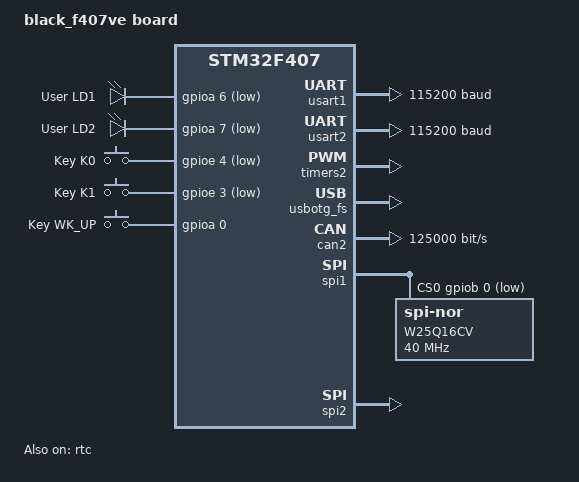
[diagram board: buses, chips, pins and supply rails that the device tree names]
/*
 * Copyright (c) 2020 Intel Corporation
 *
 * SPDX-License-Identifier: Apache-2.0
 */

/dts-v1/;
#include <st/f4/stm32f407Xe.dtsi>

/ {
	model = "black_f407ve board";
	compatible = "st,stm32f407";

	chosen {
		zephyr,console = &usart2;
		zephyr,shell-uart = &usart2;
		zephyr,sram = &sram0;
		zephyr,flash = &flash0;
		zephyr,ccm = &ccm0;
		zephyr,can-primary = &can2;
	};

	leds {
		compatible = "gpio-leds";
		green_led_1: led_1 {
			gpios = <&gpioa 6 GPIO_ACTIVE_LOW>;
			label = "User LD1";
		};
		green_led_2: led_2 {
			gpios = <&gpioa 7 GPIO_ACTIVE_LOW>;
			label = "User LD2";
		};
	};

	gpio_keys {
		compatible = "gpio-keys";
		user_button_0: K0 {
			label = "Key K0";
			gpios = <&gpioe 4 GPIO_ACTIVE_LOW>;
		};
		user_button_1: K1 {
			label = "Key K1";
			gpios = <&gpioe 3 GPIO_ACTIVE_LOW>;
		};
		user_button_UP: K_UP {
			label = "Key WK_UP";
			gpios = <&gpioa 0 GPIO_ACTIVE_HIGH>;
		};
	};

	aliases {
		led0 = &green_led_1;
		led1 = &green_led_2;
		sw0 = &user_button_UP;
	};
};

&usart1 {
	current-speed = <115200>;
	status = "okay";
};

&usart2 {
	current-speed = <115200>;
	status = "okay";
};

&timers2 {
	status = "okay";

	pwm2: pwm {
		status = "okay";
	};
};

&rtc {
	status = "okay";
};

&usbotg_fs {
	status = "okay";
};

&can1 {
	bus-speed = <125000>;
	status = "disabled";
};

&can2 {
	bus-speed = <125000>;
	status = "okay";
};

&spi1 {
	status = "okay";
	cs-gpios = <&gpiob 0 GPIO_ACTIVE_LOW>;
	w25q16cv: w25q16cv@0 {
		compatible = "jedec,spi-nor";
		label = "W25Q16CV";
		reg = <0>;
		spi-max-frequency = <40000000>;
		size = <0x1000000>;
		has-dpd;
		t-enter-dpd = <4000>;
		t-exit-dpd = <25000>;
		jedec-id = [ef 40 15];
		has-be32k;
	};
};

&spi2 {
	status = "okay";
};
